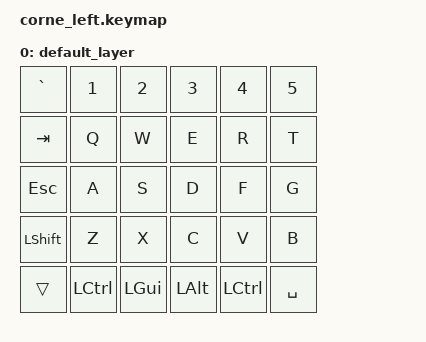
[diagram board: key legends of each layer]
#include <behaviors.dtsi>
#include <dt-bindings/zmk/keys.h>
#include <dt-bindings/zmk/bt.h>

/ {
    keymap {
        compatible = "zmk,keymap";

        default_layer {
            bindings = <
                &kp GRAVE  &kp N1    &kp N2    &kp N3     &kp N4     &kp N5               
                &kp TAB    &kp Q     &kp W     &kp E      &kp R      &kp T               
                &kp ESC    &kp A     &kp S     &kp D      &kp F      &kp G               
                &kp LSHFT  &kp Z     &kp X     &kp C      &kp V      &kp B               
                &trans     &kp LCTRL &kp LGUI  &kp LALT   &kp LCTRL  &kp SPACE            
            >;
        };
    };
};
